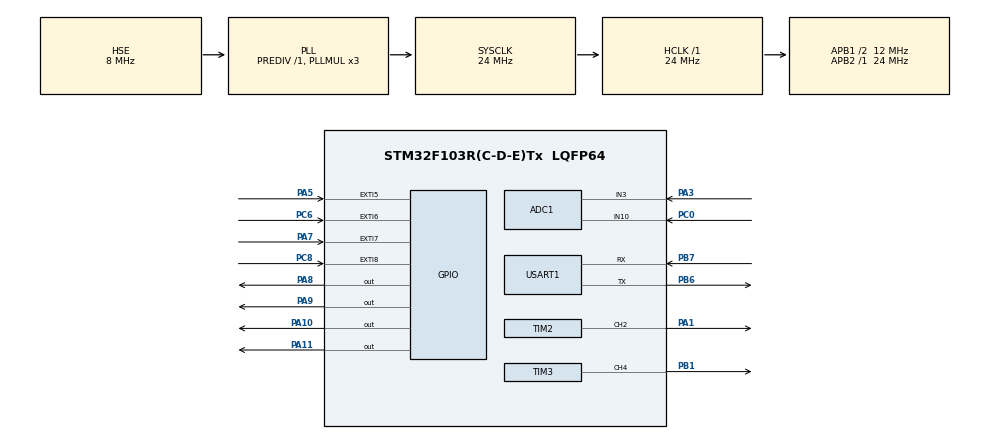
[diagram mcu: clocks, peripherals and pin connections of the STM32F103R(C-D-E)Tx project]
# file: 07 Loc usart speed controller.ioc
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ADC1.Channel-5\#ChannelRegularConversion=ADC_CHANNEL_3
ADC1.Channel-6\#ChannelRegularConversion=ADC_CHANNEL_10
ADC1.ContinuousConvMode=ENABLE
ADC1.NbrOfConversion=2
ADC1.NbrOfConversionFlag=1
ADC1.Rank-5\#ChannelRegularConversion=1
ADC1.Rank-6\#ChannelRegularConversion=2
ADC1.SamplingTime-5\#ChannelRegularConversion=ADC_SAMPLETIME_239CYCLES_5
ADC1.SamplingTime-6\#ChannelRegularConversion=ADC_SAMPLETIME_1CYCLE_5
ADC1.master=1
Mcu.Family=STM32F1
Mcu.Name=STM32F103R(C-D-E)Tx
Mcu.Package=LQFP64
NVIC.EXTI9_5_IRQn=true\:2\:0\:true\:false\:true\:true\:true\:true
NVIC.PriorityGroup=NVIC_PRIORITYGROUP_4
NVIC.TIM1_UP_IRQn=true\:0\:0\:true\:false\:true\:true\:true\:true
NVIC.TIM4_IRQn=true\:1\:0\:true\:false\:true\:true\:true\:true
NVIC.USART1_IRQn=true\:0\:0\:false\:false\:true\:true\:true\:true
PA1.Signal=S_TIM2_CH2
PA10.Signal=GPIO_Output
PA11.Signal=GPIO_Output
PA13.Mode=Serial_Wire
PA13.Signal=SYS_JTMS-SWDIO
PA14.Mode=Serial_Wire
PA14.Signal=SYS_JTCK-SWCLK
PA3.Signal=ADCx_IN3
PA5.Signal=GPXTI5
PA7.GPIO_PuPd=GPIO_PULLDOWN
PA7.Signal=GPXTI7
PA8.Signal=GPIO_Output
PA9.Signal=GPIO_Output
PB1.Signal=S_TIM3_CH4
PB6.Mode=Asynchronous
PB6.Signal=USART1_TX
PB7.Mode=Asynchronous
PB7.Signal=USART1_RX
PC0.Signal=ADCx_IN10
PC6.Signal=GPXTI6
PC8.Signal=GPXTI8
PD0-OSC_IN.Mode=HSE-External-Oscillator
PD0-OSC_IN.Signal=RCC_OSC_IN
PD1-OSC_OUT.Mode=HSE-External-Oscillator
PD1-OSC_OUT.Signal=RCC_OSC_OUT
ProjectManager.HeapSize=0x200
ProjectManager.StackSize=0x400
ProjectManager.TargetToolchain=MDK-ARM V5.32
RCC.AHBFreq_Value=24000000
RCC.APB1CLKDivider=RCC_HCLK_DIV2
RCC.APB1Freq_Value=12000000
RCC.APB1TimFreq_Value=24000000
RCC.APB2Freq_Value=24000000
RCC.APB2TimFreq_Value=24000000
RCC.EnbaleCSS=true
RCC.HCLKFreq_Value=24000000
RCC.PLLMUL=RCC_PLL_MUL3
RCC.PLLSourceVirtual=RCC_PLLSOURCE_HSE
RCC.SYSCLKFreq_VALUE=24000000
RCC.SYSCLKSource=RCC_SYSCLKSOURCE_PLLCLK
RCC.USBFreq_Value=24000000
SH.ADCx_IN10.0=ADC1_IN10,IN10
SH.ADCx_IN3.0=ADC1_IN3,IN3
SH.S_TIM2_CH2.0=TIM2_CH2,PWM Generation2 CH2
SH.S_TIM3_CH4.0=TIM3_CH4,PWM Generation4 CH4
TIM1.Period=TIM1_PERIOD
TIM1.Prescaler=23999
TIM2.Channel-PWM\ Generation2\ CH2=TIM_CHANNEL_2
TIM2.Period=PWM_PERIOD
TIM2.Prescaler=PRESCALER
TIM3.Channel-PWM\ Generation4\ CH4=TIM_CHANNEL_4
TIM3.Period=PWM_PERIOD
TIM3.Prescaler=PRESCALER
TIM4.Period=TIM4_PERIOD
TIM4.Prescaler=23999
USART1.VirtualMode=VM_ASYNC
VP_TIM1_VS_ClockSourceINT.Mode=Internal
VP_TIM2_VS_ClockSourceINT.Mode=Internal
VP_TIM3_VS_ClockSourceINT.Mode=Internal
VP_TIM4_VS_ClockSourceINT.Mode=Internal
board=custom

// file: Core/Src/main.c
/* USER CODE BEGIN Header */
/**
  ******************************************************************************
  * @file           : main.c
  * @brief          : Main program body
  ******************************************************************************
  * @attention
  *
  * Copyright (c) 2023 STMicroelectronics.
  * All rights reserved.
  *
  * This software is licensed under terms that can be found in the LICENSE file
  * in the root directory of this software component.
  * If no LICENSE file comes with this software, it is provided AS-IS.
  *
  ******************************************************************************
  */
/* USER CODE END Header */
#include "main.h"

/* USER CODE BEGIN Includes */
#include "math.h"
/* USER CODE END Includes */

/* USER CODE BEGIN PD */

#define PRESCALER 	  99
#define TIM1_PERIOD 	9
#define PWM_PERIOD 	499
#define TIM4_PERIOD 1399

#define NUM_OF_HOLES    12000

/* USER CODE END PD */

 ADC_HandleTypeDef hadc1;

TIM_HandleTypeDef htim1;
TIM_HandleTypeDef htim2;
TIM_HandleTypeDef htim3;
TIM_HandleTypeDef htim4;

UART_HandleTypeDef huart1;

/* USER CODE BEGIN PV */

volatile int counterRight, counterLeft, rpmRight, rpmLeft, counterBackRight, counterBackLeft;
int rpmRightD, rpmLeftD, errorRight, errorLeft;
//char flagARight, flagBRight, flagALeft, flagBLeft;
int rPWM = 0;
int lPWM = 0;
int delta_rPWM, delta_lPWM;
int  contL = 0, contR = 0;
uint16_t readValueL, readValueR;
float sensitivity = 0.185; // 0.185 for 5A Model
float rawVoltageL, rawVoltageR, kpR = 0.5, kpL = 0.5;
float sumL = 0, sumR = 0, currentL, currentR;
char forwardR, forwardL, backwardR, backwardL, increasingSpeed=1;
int second=0;
char speedFlag=0, currentFlag=0;
uint32_t AD_RES=0;
int loopNumber=0;
float KTL = 300, KTR = 300;
int errorTorRight=0, errorTorLeft=0;
int torRightD, torLeftD, torRight, torLeft;

int speedAngle;
uint8_t Rx_data[6];
#define totalError 15
#define circlePoint 20
int loopNumberPoint =0;
int allError[totalError];
char locFlag = 0;
//uint8_t x, y, angle;
int x, y, angle;
int dangle =0;
char locState = 's';

/* USER CODE END PV */

void SystemClock_Config(void);
static void MX_GPIO_Init(void);
static void MX_TIM2_Init(void);
static void MX_TIM3_Init(void);
static void MX_TIM1_Init(void);
static void MX_ADC1_Init(void);
static void MX_USART1_UART_Init(void);
static void MX_TIM4_Init(void);

/* USER CODE BEGIN 0 */
void ADC_Select_CHA3 (void)
{
	ADC_ChannelConfTypeDef sConfig = {0};
  /** Configure Regular Channel
  */
  sConfig.Channel = ADC_CHANNEL_3;
  sConfig.Rank = ADC_REGULAR_RANK_1;
  sConfig.SamplingTime = ADC_SAMPLETIME_1CYCLE_5;
  if (HAL_ADC_ConfigChannel(&hadc1, &sConfig) != HAL_OK)
  {
    Error_Handler();
  }
}

void ADC_Select_CHC0 (void)
{
	ADC_ChannelConfTypeDef sConfig = {0};
  /** Configure Regular Channel
  */
  sConfig.Channel = ADC_CHANNEL_10;
  sConfig.Rank = ADC_REGULAR_RANK_1;
  sConfig.SamplingTime = ADC_SAMPLETIME_1CYCLE_5;
  if (HAL_ADC_ConfigChannel(&hadc1, &sConfig) != HAL_OK)
  {
    Error_Handler();
  }
}

void Motor_PWM_Right(int PWM){

	if(PWM >= 0){

		HAL_GPIO_WritePin(GPIOA, GPIO_PIN_10, GPIO_PIN_RESET);
		HAL_GPIO_WritePin(GPIOA, GPIO_PIN_11, GPIO_PIN_SET);
		__HAL_TIM_SET_COMPARE(&htim2, TIM_CHANNEL_2, PWM);

	}
	else{

		PWM = -PWM;
		HAL_GPIO_WritePin(GPIOA, GPIO_PIN_10, GPIO_PIN_SET);
		HAL_GPIO_WritePin(GPIOA, GPIO_PIN_11, GPIO_PIN_RESET);
		__HAL_TIM_SET_COMPARE(&htim2, TIM_CHANNEL_2, PWM);

	}

}

void Motor_PWM_Left(int PWM){

	if(PWM >= 0){

		HAL_GPIO_WritePin(GPIOA, GPIO_PIN_8, GPIO_PIN_RESET);
		HAL_GPIO_WritePin(GPIOA, GPIO_PIN_9, GPIO_PIN_SET);
		__HAL_TIM_SET_COMPARE(&htim3, TIM_CHANNEL_4, PWM);

	}
	else{

		PWM = -PWM;
		HAL_GPIO_WritePin(GPIOA, GPIO_PIN_8, GPIO_PIN_SET);
		HAL_GPIO_WritePin(GPIOA, GPIO_PIN_9, GPIO_PIN_RESET);
		__HAL_TIM_SET_COMPARE(&htim3, TIM_CHANNEL_4, PWM);

	}

}
int gox,goy;
struct position{
	int x;
	int y;
	int angle;
};
float nearPoint(struct position point1,struct position point2)
{
	float dist = sqrt(pow(point1.x-point2.x,2)+pow(point1.y-point2.y,2));
	return dist;
}

struct position circle(int r,struct position robot,struct position center,int point)
{
	struct position goPoint;
	goPoint.x = sin(point) * r + center.x;
	goPoint.y = cos(point) * r + center.y;
	goPoint.angle = (atan2(goPoint.y - robot.y, goPoint.x - robot.x)*180.0/3.14);
	if(goPoint.angle < 0 )
		goPoint.angle = goPoint.angle + 360;
	return goPoint;
}
int turnPID(float kc,float kp,int dangle,int angleRobot)
{
float error = dangle-angleRobot;
	if(error > 180)
		error = -360 + error;
	else if (error < -180)
		error = error + 360;
	if(error > 45 || error < -45)
		kc /= 2;
allError[loopNumber] = error;

float sum=0;
for(int i=0;i<totalError;i++)
{
	sum = allError[i]+sum;
}
int turn = (error * kc) + (kp *sum);
return turn;
}

//void HAL_ADC_ConvCpltCallback(ADC_HandleTypeDef* hadc){
//
//
//	  /////////////////// Current ADC ///////////////////////////////
//
//	  		// If rawVoltage is not 2.5Volt, multiply by a factor.In my case it is 1.035
//	  //		HAL_ADC_PollForConversion(&hadc1,100);
//	  //    readValue = HAL_ADC_GetValue(&hadc1);
//	  //    sum += (float) readValue * 3.3 * 2 / 4095;
//	  //		cont++;
//
//	  //		if(cont >= 5000){
//	  //			rawVoltage = (float)sum / 5000;
//	  //			cont = 0;
//	  //			sum = 0;
//	  //		}
//	  //    current =(rawVoltage - 2.5)/sensitivity;
//
//
//	readValue = HAL_ADC_GetValue(&hadc1);
//
//	currentFlag = 1;
//
//}

void HAL_UART_RxCpltCallback(UART_HandleTypeDef *huart){

	locFlag = 1;

}

void HAL_TIM_PeriodElapsedCallback(TIM_HandleTypeDef *htim){
if(htim -> Instance == TIM1){
	speedFlag = 1;
}

if(htim -> Instance == TIM4){

		second++;

////////////// forward straight line ///////////////
//	if(increasingSpeed){
//		rpmRightD += 15;
//		rpmLeftD += 15;
//	}
//	if(!increasingSpeed){
//		rpmRightD -= 15;
//		rpmLeftD -= 15;
//	}
//	if(rpmRightD >= 69 || rpmLeftD >= 69){
//		increasingSpeed = 0;
//  }
//	if(rpmRightD <= 1 || rpmLeftD <= 1){
//		increasingSpeed = 1;
//  }

////////////// backward straight line ///////////////
//	if(increasingSpeed){
//		rpmRightD -= 15;
//		rpmLeftD -= 15;
//	}
//	if(!increasingSpeed){
//		rpmRightD += 15;
//		rpmLeftD += 15;
//	}
//	if(rpmRightD <= -69 || rpmLeftD <= -69){
//		increasingSpeed = 0;
//  }
//	if(rpmRightD >= -1 || rpmLeftD >= -1){
//		increasingSpeed = 1;
//  }

///////////////// T shape profile ///////////////////
//	if(second == 1){
//
//		rpmRightD = 30;
//		rpmLeftD = 30;
//
//	}
//	if(second == 3){
//
//		rpmRightD = 0;
//		rpmLeftD = 0;

//
//	}
//	if(second == 4){
//
//		rpmRightD = 11;
//		rpmLeftD = -11;
//
//	}
//	if(second == 7){
//
//		rpmRightD = 0;
//		rpmLeftD = 0;

//
//	}
//	if(second == 8){
//
//		rpmRightD = 30;
//		rpmLeftD = 30;

//
//	}
//	if(second == 9){
//
//		rpmRightD = -30;
//		rpmLeftD = -30;

//
//	}
//	if(second == 12){
//
//		rpmRightD = 0;
//		rpmLeftD = 0;

//
//	}

//////////////////// 8 ///////////////
//	if(second == 1){
//
//		rpmRightD = 30;
//		rpmLeftD = 10;
//}
//	if(second == 11){
//
//		rpmRightD = 10;
//		rpmLeftD = 30;
//  }
//	if(second == 21){
//
//		rpmRightD = 0;
//		rpmLeftD = 0;
//  }

}

}

void HAL_GPIO_EXTI_Callback(uint16_t GPIO_Pin){

	/////////// Right //////////
	if(GPIO_Pin == GPIO_PIN_6){

		if(HAL_GPIO_ReadPin(GPIOC, GPIO_PIN_7)){
			counterRight++;
			forwardR = 1;
		}
		else{
			counterBackRight++;
			forwardR = 0;
		}
	}

	/////////// Left //////////

	if(GPIO_Pin == GPIO_PIN_7){
		if(HAL_GPIO_ReadPin(GPIOA, GPIO_PIN_6)){
			counterLeft++;
			forwardL = 1;
		}
		else{
			counterBackLeft++;
			forwardL = 0;
		}
	}
}

/* USER CODE END 0 */

int main(void)
{
  /* USER CODE BEGIN 1 */
//	int a = 0;
	lPWM = 0;
//	rPWM = 1.3*lPWM;
	rPWM = 0;

	rpmRightD = 30;
	rpmLeftD = 30;

  /* USER CODE END 1 */

  /* MCU Configuration--------------------------------------------------------*/

  /* Reset of all peripherals, Initializes the Flash interface and the Systick. */
  HAL_Init();

  /* Configure the system clock */
  SystemClock_Config();

  /* Initialize all configured peripherals */
  MX_GPIO_Init();
  MX_TIM2_Init();
  MX_TIM3_Init();
  MX_TIM1_Init();
  MX_ADC1_Init();
  MX_USART1_UART_Init();
  MX_TIM4_Init();
  /* USER CODE BEGIN 2 */

	HAL_TIM_PWM_Start(&htim2, TIM_CHANNEL_2);
	HAL_TIM_PWM_Start(&htim3, TIM_CHANNEL_4);

	HAL_TIM_Base_Start_IT(&htim1);
	HAL_TIM_Base_Start_IT(&htim4);

//	HAL_ADC_Start_DMA(&hadc1, &AD_RES, 1);

	////////////// left /////////////////////////////
	HAL_GPIO_WritePin(GPIOA, GPIO_PIN_8, GPIO_PIN_RESET);
	HAL_GPIO_WritePin(GPIOA, GPIO_PIN_9, GPIO_PIN_SET);

	////////////// Right /////////////////////////////
	HAL_GPIO_WritePin(GPIOA, GPIO_PIN_10, GPIO_PIN_RESET);
	HAL_GPIO_WritePin(GPIOA, GPIO_PIN_11, GPIO_PIN_SET);

	HAL_UART_Receive_IT(&huart1, Rx_data, 6);
  /* USER CODE END 2 */

  /* Infinite loop */
  /* USER CODE BEGIN WHILE */
  while (1)
  {

		ADC_Select_CHA3();
		HAL_ADC_Start(&hadc1);
		HAL_ADC_PollForConversion(&hadc1, 1);
		readValueL = HAL_ADC_GetValue(&hadc1);
		HAL_ADC_Stop(&hadc1);

//		currentL = (float) readValueL * 3.3 / 4095 ;
		sumL += (float) readValueL * 3.3 / 4095 ;
		contL++;
		if(contL >= 40){
			rawVoltageL = (float)sumL / 40;
			contL = 0;
			sumL = 0;
			currentL = rawVoltageL;
		}

		ADC_Select_CHC0();
		HAL_ADC_Start(&hadc1);
		HAL_ADC_PollForConversion(&hadc1, 1);
		readValueR = HAL_ADC_GetValue(&hadc1);
		HAL_ADC_Stop(&hadc1);

//		currentR = (float) readValueR * 3.3 / 4095 ;
		sumR += (float) readValueR * 3.3 / 4095 ;
		contR++;
		if(contR >= 40){
			rawVoltageR = (float)sumR / 40;
			contR = 0;
			sumR = 0;
			currentR = rawVoltageR;
		}

if(speedFlag){

	//60000/(TIM1_PERIOD+1)
	if(forwardR){
	rpmRight = (counterRight * 60000/(TIM1_PERIOD+1))/NUM_OF_HOLES;
	}
	if(forwardL){
	rpmLeft = (counterLeft *  60000/(TIM1_PERIOD+1))/NUM_OF_HOLES;
	}

	if(!forwardR){
	rpmRight = -(counterBackRight *  60000/(TIM1_PERIOD+1))/NUM_OF_HOLES;
	}
	if(!forwardL){
	rpmLeft = -(counterBackLeft *  60000/(TIM1_PERIOD+1))/NUM_OF_HOLES;
	}

	counterBackRight = 0;
	counterBackLeft = 0;
	counterRight = 0;
	counterLeft = 0;
	speedFlag = 0;

}

if(locFlag){

	x = Rx_data[0];
	x |= Rx_data[1]<<8;
	y = Rx_data[2];
	y |= Rx_data[3]<<8;
	angle = Rx_data[4];
	angle |= Rx_data[5]<<8;

//	HAL_UART_Transmit(&huart1, Rx_data, sizeof(Rx_data), 10);
	HAL_UART_Receive_IT(&huart1, Rx_data, 6);
	locFlag = 0;

//	if(locState == 's'){
//		if(y >= 500){
//			HAL_Delay(100);
//			rpmRightD = 10;
//			rpmLeftD = -10;
//			locState = 'a';
//		}
//	}
//	if(locState == 'a'){
//		if(angle <= 2 | angle >= 358){
//			HAL_Delay(100);
//			rpmRightD = 30;
//			rpmLeftD = 30;
//			locState = 'b';
//		}
//	}
//	if(locState == 'b'){
//		if(x >= 450){
//			HAL_Delay(100);
//			rpmRightD = 10;
//			rpmLeftD = -10;
//			locState = 'c';
//		}
//	}
//	if(locState == 'c'){
//		if(angle <= 270){
//			HAL_Delay(100);
//			rpmRightD = 30;
//			rpmLeftD = 30;
//			locState = 'd';
//		}
//	}
//	if(locState == 'd'){
//		if(y <= 350){
//			HAL_Delay(100);
//			rpmRightD = 10;
//			rpmLeftD = -10;
//			locState = 'e';
//		}
//	}
//	if(locState == 'e'){
//		if(angle <= 180){
//			HAL_Delay(100);
//			rpmRightD = 30;
//			rpmLeftD = 30;
//			locState = 'f';
//		}
//	}
//	if(locState == 'f'){
//		if(x <= 300){
//			HAL_Delay(100);
//			rpmRightD = 10;
//			rpmLeftD = -10;
//			locState = 'g';
//		}
//	}
//	if(locState == 'g'){
//		if(angle <= 90){
//			HAL_Delay(100);
//			rpmRightD = 30;
//			rpmLeftD = 30;
//			locState = 's';
//		}
	}
	/*
	if(y >= 520){

		rpmRightD = -30;
		rpmLeftD = -30;
	}
	else if(y <= 240){

		rpmRightD = 30;
		rpmLeftD = 30;
	}*/
//}

/////////////////// Speed Control ///////////////////////////////
//Motor_PWM_Right(250);
//Motor_PWM_Left(250);
//		int a = 300;

//dangle = (atan2((370.0-y),(470.0-x)))*180.0/3.14;
//	if(dangle < 0 )
//		dangle = dangle + 360;
//speedAngle = turnPID(0.6,0.0015,dangle,angle);
loopNumber = loopNumber+1;
if(loopNumber>=totalError)
	loopNumber=0;
struct position robot;
robot.x =x;
robot.y = y;
robot.angle=angle;
struct position center;
center.x = 470;
center.y = 370;

struct position goPoint = circle(100,robot,center,loopNumberPoint*(2*3.14/circlePoint));
if(nearPoint(goPoint,robot)<20)
{
	loopNumberPoint = loopNumberPoint+1;
}
if(loopNumberPoint>circlePoint)
{
	loopNumberPoint = 0;
}
speedAngle = turnPID(0.6,0.0015,goPoint.angle,robot.angle);

//loopNumber = loopNumber+1;
//if(loopNumber>=totalError)
//	loopNumber=0;
//Motor_PWM_Right(speedAngle);
//Motor_PWM_Left(-speedAngle);
int addSpeed = 30;
//if(nearPoint(x,y,470,370)>20)
//{
//	addSpeed = 30;
//}
//else
//{
//		speedAngle=0;

//}
//gox = goPoint.x;
//goy = goPoint.y;
//			rpmRightD = -speedAngle + addSpeed;
//			rpmLeftD = speedAngle + addSpeed;
//		rpmRightD = 70;
//		rpmLeftD = 70;
//		errorRight = rpmRightD - rpmRight;
//
//		delta_rPWM = kpR*errorRight;

//		rPWM = rPWM + delta_rPWM;
//		if(rPWM > PWM_PERIOD)
//			rPWM = PWM_PERIOD;
//		else if(rPWM < -PWM_PERIOD)
//			rPWM = -PWM_PERIOD;
//		HAL_Delay(5);
//		Motor_PWM_Right(rPWM);
//	//	Motor_PWM_Right(250);
//
//		errorLeft = rpmLeftD - rpmLeft;
//
//		delta_lPWM = kpL*errorLeft;

//		lPWM = lPWM + delta_lPWM;
//		if(lPWM > PWM_PERIOD)
//			lPWM = PWM_PERIOD;
//		else if(lPWM < -PWM_PERIOD)
//			lPWM = -PWM_PERIOD;
//		HAL_Delay(5);
//		Motor_PWM_Left(lPWM);
//		//Motor_PWM_Left(250);

//
//		if(rpmRightD == 0 && rPWM !=0)
//			rPWM = 0;
//		if(rpmLeftD == 0 && lPWM !=0)
//			lPWM = 0;

////Motor_PWM_Right(300);
//

/////////////////// End of Speed Control ///////////////////////////////

/////////////////// Torque Control /////////////////////////////////////
	torRightD = 400;
	torLeftD = 400;

		if(rPWM < 0)
			currentR = -currentR;
		torRight = currentR * KTR;
		errorTorRight = torRightD - torRight;

		delta_rPWM = 0.01*errorTorRight;

		rPWM = rPWM + delta_rPWM;
		if(rPWM > PWM_PERIOD)
			rPWM = PWM_PERIOD;
		else if(rPWM < -PWM_PERIOD)
			rPWM = -PWM_PERIOD;

		HAL_Delay(3);
		Motor_PWM_Right(rPWM);

		if(lPWM < 0)
			currentL = -currentL;
		torLeft = currentL * KTL;
		errorTorLeft = torLeftD - torLeft;

		delta_lPWM = 0.01*errorTorLeft;

		lPWM = lPWM + delta_lPWM;
		if(lPWM > PWM_PERIOD)
			lPWM = PWM_PERIOD;
		else if(lPWM < -PWM_PERIOD)
			lPWM = -PWM_PERIOD;

		HAL_Delay(3);
		Motor_PWM_Left(lPWM);

/////////////////// USART /////////////////////////////////////

    /* USER CODE END WHILE */

  }
}

void SystemClock_Config(void)
{
  RCC_OscInitTypeDef RCC_OscInitStruct = {0};
  RCC_ClkInitTypeDef RCC_ClkInitStruct = {0};
  RCC_PeriphCLKInitTypeDef PeriphClkInit = {0};

  /** Initializes the RCC Oscillators according to the specified parameters
  * in the RCC_OscInitTypeDef structure.
  */
  RCC_OscInitStruct.OscillatorType = RCC_OSCILLATORTYPE_HSE;
  RCC_OscInitStruct.HSEState = RCC_HSE_ON;
  RCC_OscInitStruct.HSEPredivValue = RCC_HSE_PREDIV_DIV1;
  RCC_OscInitStruct.HSIState = RCC_HSI_ON;
  RCC_OscInitStruct.PLL.PLLState = RCC_PLL_ON;
  RCC_OscInitStruct.PLL.PLLSource = RCC_PLLSOURCE_HSE;
  RCC_OscInitStruct.PLL.PLLMUL = RCC_PLL_MUL3;
  if (HAL_RCC_OscConfig(&RCC_OscInitStruct) != HAL_OK)
  {
    Error_Handler();
  }

  /** Initializes the CPU, AHB and APB buses clocks
  */
  RCC_ClkInitStruct.ClockType = RCC_CLOCKTYPE_HCLK|RCC_CLOCKTYPE_SYSCLK
                              |RCC_CLOCKTYPE_PCLK1|RCC_CLOCKTYPE_PCLK2;
  RCC_ClkInitStruct.SYSCLKSource = RCC_SYSCLKSOURCE_PLLCLK;
  RCC_ClkInitStruct.AHBCLKDivider = RCC_SYSCLK_DIV1;
  RCC_ClkInitStruct.APB1CLKDivider = RCC_HCLK_DIV2;
  RCC_ClkInitStruct.APB2CLKDivider = RCC_HCLK_DIV1;

  if (HAL_RCC_ClockConfig(&RCC_ClkInitStruct, FLASH_LATENCY_0) != HAL_OK)
  {
    Error_Handler();
  }
  PeriphClkInit.PeriphClockSelection = RCC_PERIPHCLK_ADC;
  PeriphClkInit.AdcClockSelection = RCC_ADCPCLK2_DIV2;
  if (HAL_RCCEx_PeriphCLKConfig(&PeriphClkInit) != HAL_OK)
  {
    Error_Handler();
  }

  /** Enables the Clock Security System
  */
  HAL_RCC_EnableCSS();
}

static void MX_ADC1_Init(void)
{

  ADC_ChannelConfTypeDef sConfig = {0};

  /** Common config
  */
  hadc1.Instance = ADC1;
  hadc1.Init.ScanConvMode = ADC_SCAN_ENABLE;
  hadc1.Init.ContinuousConvMode = ENABLE;
  hadc1.Init.DiscontinuousConvMode = DISABLE;
  hadc1.Init.ExternalTrigConv = ADC_SOFTWARE_START;
  hadc1.Init.DataAlign = ADC_DATAALIGN_RIGHT;
  hadc1.Init.NbrOfConversion = 1;
  if (HAL_ADC_Init(&hadc1) != HAL_OK)
  {
    Error_Handler();
  }

  /** Configure Regular Channel
  */
//  sConfig.Channel = ADC_CHANNEL_3;
//  sConfig.Rank = ADC_REGULAR_RANK_1;
//  sConfig.SamplingTime = ADC_SAMPLETIME_239CYCLES_5;
//  if (HAL_ADC_ConfigChannel(&hadc1, &sConfig) != HAL_OK)
//  {
//    Error_Handler();
//  }

  /** Configure Regular Channel
  */
//  sConfig.Channel = ADC_CHANNEL_10;
//  sConfig.Rank = ADC_REGULAR_RANK_2;
//  sConfig.SamplingTime = ADC_SAMPLETIME_1CYCLE_5;
//  if (HAL_ADC_ConfigChannel(&hadc1, &sConfig) != HAL_OK)
//  {
//    Error_Handler();
//  }

}

static void MX_TIM1_Init(void)
{

  TIM_ClockConfigTypeDef sClockSourceConfig = {0};
  TIM_MasterConfigTypeDef sMasterConfig = {0};

  htim1.Instance = TIM1;
  htim1.Init.Prescaler = 23999;
  htim1.Init.CounterMode = TIM_COUNTERMODE_UP;
  htim1.Init.Period = TIM1_PERIOD;
  htim1.Init.ClockDivision = TIM_CLOCKDIVISION_DIV1;
  htim1.Init.RepetitionCounter = 0;
  htim1.Init.AutoReloadPreload = TIM_AUTORELOAD_PRELOAD_DISABLE;
  if (HAL_TIM_Base_Init(&htim1) != HAL_OK)
  {
    Error_Handler();
  }
  sClockSourceConfig.ClockSource = TIM_CLOCKSOURCE_INTERNAL;
  if (HAL_TIM_ConfigClockSource(&htim1, &sClockSourceConfig) != HAL_OK)
  {
    Error_Handler();
  }
  sMasterConfig.MasterOutputTrigger = TIM_TRGO_RESET;
  sMasterConfig.MasterSlaveMode = TIM_MASTERSLAVEMODE_DISABLE;
  if (HAL_TIMEx_MasterConfigSynchronization(&htim1, &sMasterConfig) != HAL_OK)
  {
    Error_Handler();
  }

}

static void MX_TIM2_Init(void)
{

  TIM_ClockConfigTypeDef sClockSourceConfig = {0};
  TIM_MasterConfigTypeDef sMasterConfig = {0};
  TIM_OC_InitTypeDef sConfigOC = {0};

  htim2.Instance = TIM2;
  htim2.Init.Prescaler = PRESCALER;
  htim2.Init.CounterMode = TIM_COUNTERMODE_UP;
  htim2.Init.Period = PWM_PERIOD;
  htim2.Init.ClockDivision = TIM_CLOCKDIVISION_DIV1;
  htim2.Init.AutoReloadPreload = TIM_AUTORELOAD_PRELOAD_DISABLE;
  if (HAL_TIM_Base_Init(&htim2) != HAL_OK)
  {
    Error_Handler();
  }
  sClockSourceConfig.ClockSource = TIM_CLOCKSOURCE_INTERNAL;
  if (HAL_TIM_ConfigClockSource(&htim2, &sClockSourceConfig) != HAL_OK)
  {
    Error_Handler();
  }
  if (HAL_TIM_PWM_Init(&htim2) != HAL_OK)
  {
    Error_Handler();
  }
  sMasterConfig.MasterOutputTrigger = TIM_TRGO_RESET;
  sMasterConfig.MasterSlaveMode = TIM_MASTERSLAVEMODE_DISABLE;
  if (HAL_TIMEx_MasterConfigSynchronization(&htim2, &sMasterConfig) != HAL_OK)
  {
    Error_Handler();
  }
  sConfigOC.OCMode = TIM_OCMODE_PWM1;
  sConfigOC.Pulse = 0;
  sConfigOC.OCPolarity = TIM_OCPOLARITY_HIGH;
  sConfigOC.OCFastMode = TIM_OCFAST_DISABLE;
  if (HAL_TIM_PWM_ConfigChannel(&htim2, &sConfigOC, TIM_CHANNEL_2) != HAL_OK)
  {
    Error_Handler();
  }
  HAL_TIM_MspPostInit(&htim2);

}

static void MX_TIM3_Init(void)
{

  TIM_ClockConfigTypeDef sClockSourceConfig = {0};
  TIM_MasterConfigTypeDef sMasterConfig = {0};
  TIM_OC_InitTypeDef sConfigOC = {0};

  htim3.Instance = TIM3;
  htim3.Init.Prescaler = PRESCALER;
  htim3.Init.CounterMode = TIM_COUNTERMODE_UP;
  htim3.Init.Period = PWM_PERIOD;
  htim3.Init.ClockDivision = TIM_CLOCKDIVISION_DIV1;
  htim3.Init.AutoReloadPreload = TIM_AUTORELOAD_PRELOAD_DISABLE;
  if (HAL_TIM_Base_Init(&htim3) != HAL_OK)
  {
    Error_Handler();
  }
  sClockSourceConfig.ClockSource = TIM_CLOCKSOURCE_INTERNAL;
  if (HAL_TIM_ConfigClockSource(&htim3, &sClockSourceConfig) != HAL_OK)
  {
    Error_Handler();
  }
  if (HAL_TIM_PWM_Init(&htim3) != HAL_OK)
  {
    Error_Handler();
  }
  sMasterConfig.MasterOutputTrigger = TIM_TRGO_RESET;
  sMasterConfig.MasterSlaveMode = TIM_MASTERSLAVEMODE_DISABLE;
  if (HAL_TIMEx_MasterConfigSynchronization(&htim3, &sMasterConfig) != HAL_OK)
  {
    Error_Handler();
  }
  sConfigOC.OCMode = TIM_OCMODE_PWM1;
  sConfigOC.Pulse = 0;
  sConfigOC.OCPolarity = TIM_OCPOLARITY_HIGH;
  sConfigOC.OCFastMode = TIM_OCFAST_DISABLE;
  if (HAL_TIM_PWM_ConfigChannel(&htim3, &sConfigOC, TIM_CHANNEL_4) != HAL_OK)
  {
    Error_Handler();
  }
  HAL_TIM_MspPostInit(&htim3);

}

static void MX_TIM4_Init(void)
{

  TIM_ClockConfigTypeDef sClockSourceConfig = {0};
  TIM_MasterConfigTypeDef sMasterConfig = {0};

  htim4.Instance = TIM4;
  htim4.Init.Prescaler = 23999;
  htim4.Init.CounterMode = TIM_COUNTERMODE_UP;
  htim4.Init.Period = TIM4_PERIOD;
  htim4.Init.ClockDivision = TIM_CLOCKDIVISION_DIV1;
  htim4.Init.AutoReloadPreload = TIM_AUTORELOAD_PRELOAD_DISABLE;
  if (HAL_TIM_Base_Init(&htim4) != HAL_OK)
  {
    Error_Handler();
  }
  sClockSourceConfig.ClockSource = TIM_CLOCKSOURCE_INTERNAL;
  if (HAL_TIM_ConfigClockSource(&htim4, &sClockSourceConfig) != HAL_OK)
  {
    Error_Handler();
  }
  sMasterConfig.MasterOutputTrigger = TIM_TRGO_RESET;
  sMasterConfig.MasterSlaveMode = TIM_MASTERSLAVEMODE_DISABLE;
  if (HAL_TIMEx_MasterConfigSynchronization(&htim4, &sMasterConfig) != HAL_OK)
  {
    Error_Handler();
  }

}

static void MX_USART1_UART_Init(void)
{

  huart1.Instance = USART1;
  huart1.Init.BaudRate = 115200;
  huart1.Init.WordLength = UART_WORDLENGTH_8B;
  huart1.Init.StopBits = UART_STOPBITS_1;
  huart1.Init.Parity = UART_PARITY_NONE;
  huart1.Init.Mode = UART_MODE_TX_RX;
  huart1.Init.HwFlowCtl = UART_HWCONTROL_NONE;
  huart1.Init.OverSampling = UART_OVERSAMPLING_16;
  if (HAL_UART_Init(&huart1) != HAL_OK)
  {
    Error_Handler();
  }

}

static void MX_GPIO_Init(void)
{
  GPIO_InitTypeDef GPIO_InitStruct = {0};

  /* GPIO Ports Clock Enable */
  __HAL_RCC_GPIOD_CLK_ENABLE();
  __HAL_RCC_GPIOC_CLK_ENABLE();
  __HAL_RCC_GPIOA_CLK_ENABLE();
  __HAL_RCC_GPIOB_CLK_ENABLE();

  /*Configure GPIO pin Output Level */
  HAL_GPIO_WritePin(GPIOA, GPIO_PIN_8|GPIO_PIN_9|GPIO_PIN_10|GPIO_PIN_11, GPIO_PIN_RESET);

  /*Configure GPIO pin : PA5 */
  GPIO_InitStruct.Pin = GPIO_PIN_5;
  GPIO_InitStruct.Mode = GPIO_MODE_IT_RISING;
  GPIO_InitStruct.Pull = GPIO_NOPULL;
  HAL_GPIO_Init(GPIOA, &GPIO_InitStruct);

  /*Configure GPIO pin : PA7 */
  GPIO_InitStruct.Pin = GPIO_PIN_7;
  GPIO_InitStruct.Mode = GPIO_MODE_IT_RISING;
  GPIO_InitStruct.Pull = GPIO_PULLDOWN;
  HAL_GPIO_Init(GPIOA, &GPIO_InitStruct);

  /*Configure GPIO pins : PC6 PC8 */
  GPIO_InitStruct.Pin = GPIO_PIN_6|GPIO_PIN_8;
  GPIO_InitStruct.Mode = GPIO_MODE_IT_RISING;
  GPIO_InitStruct.Pull = GPIO_NOPULL;
  HAL_GPIO_Init(GPIOC, &GPIO_InitStruct);

  /*Configure GPIO pins : PA8 PA9 PA10 PA11 */
  GPIO_InitStruct.Pin = GPIO_PIN_8|GPIO_PIN_9|GPIO_PIN_10|GPIO_PIN_11;
  GPIO_InitStruct.Mode = GPIO_MODE_OUTPUT_PP;
  GPIO_InitStruct.Pull = GPIO_NOPULL;
  GPIO_InitStruct.Speed = GPIO_SPEED_FREQ_LOW;
  HAL_GPIO_Init(GPIOA, &GPIO_InitStruct);

  /* EXTI interrupt init*/
  HAL_NVIC_SetPriority(EXTI9_5_IRQn, 2, 0);
  HAL_NVIC_EnableIRQ(EXTI9_5_IRQn);

}

void Error_Handler(void)
{
  __disable_irq();
  while (1)
  {
  }
}
